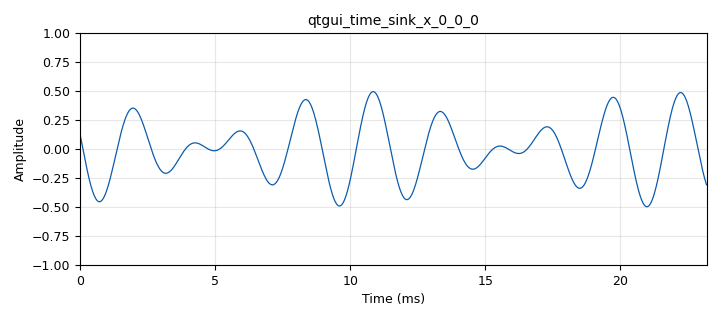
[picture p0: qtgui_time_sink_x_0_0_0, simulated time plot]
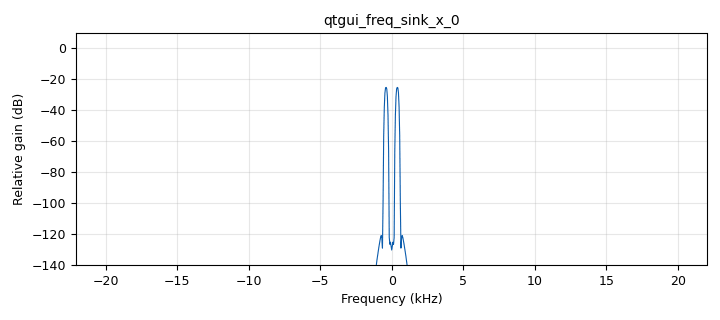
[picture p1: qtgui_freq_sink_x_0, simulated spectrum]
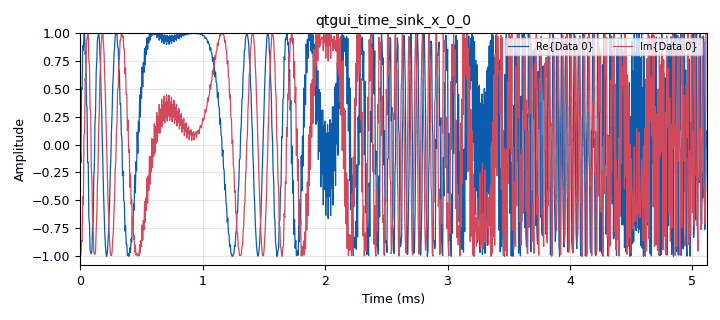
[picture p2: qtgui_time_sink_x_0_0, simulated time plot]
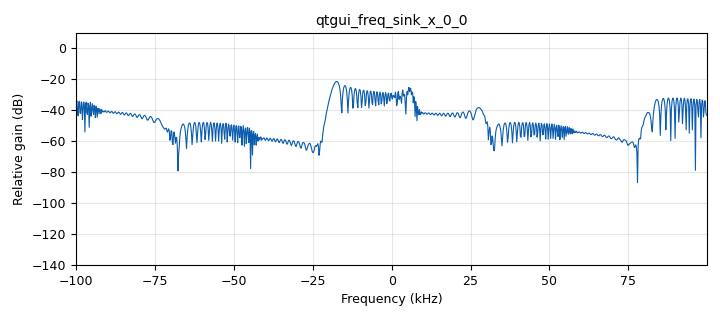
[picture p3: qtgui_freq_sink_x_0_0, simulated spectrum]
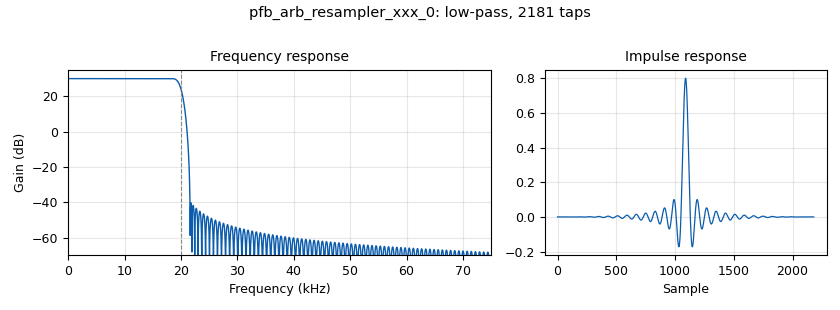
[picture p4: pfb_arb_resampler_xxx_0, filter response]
<?xml version='1.0' encoding='utf-8'?>
<flow_graph>
<block>
<key>options</key>
<param><key>id</key><value>fm_tx</value></param>
<param><key>generate_options</key><value>qt_gui</value></param>
<param><key>category</key><value>Custom</value></param>
<param><key>run_options</key><value>run</value></param>
</block>
<block>
<key>variable</key>
<param><key>id</key><value>nfilts</value></param>
<param><key>value</key><value>32</value></param>
</block>
<block>
<key>variable</key>
<param><key>id</key><value>audio_rate</value></param>
<param><key>value</key><value>44.1e3</value></param>
</block>
<block>
<key>variable</key>
<param><key>id</key><value>in_rate</value></param>
<param><key>value</key><value>50e3</value></param>
</block>
<block>
<key>variable</key>
<param><key>id</key><value>tx_rate</value></param>
<param><key>value</key><value>200e3</value></param>
</block>
<block>
<key>variable</key>
<param><key>id</key><value>resamp_rate</value></param>
<param><key>value</key><value>in_rate/audio_rate</value></param>
</block>
<block>
<key>analog_sig_source_x</key>
<param><key>id</key><value>analog_sig_source_x_0</value></param>
<param><key>type</key><value>float</value></param>
<param><key>samp_rate</key><value>audio_rate</value></param>
<param><key>waveform</key><value>analog.GR_COS_WAVE</value></param>
<param><key>freq</key><value>350</value></param>
<param><key>amp</key><value>0.25</value></param>
<param><key>offset</key><value>0</value></param>
</block>
<block>
<key>analog_sig_source_x</key>
<param><key>id</key><value>analog_sig_source_x_1</value></param>
<param><key>type</key><value>float</value></param>
<param><key>samp_rate</key><value>audio_rate</value></param>
<param><key>waveform</key><value>analog.GR_COS_WAVE</value></param>
<param><key>freq</key><value>440</value></param>
<param><key>amp</key><value>0.25</value></param>
<param><key>offset</key><value>0</value></param>
</block>
<block>
<key>blocks_add_xx</key>
<param><key>id</key><value>blocks_add_xx_0</value></param>
<param><key>type</key><value>float</value></param>
</block>
<block>
<key>qtgui_time_sink_x</key>
<param><key>id</key><value>qtgui_time_sink_x_0_0_0</value></param>
<param><key>type</key><value>float</value></param>
<param><key>name</key><value></value></param>
<param><key>size</key><value>1024</value></param>
<param><key>srate</key><value>audio_rate</value></param>
<param><key>gui_hint</key><value>0,0,1,1</value></param>
</block>
<block>
<key>qtgui_freq_sink_x</key>
<param><key>id</key><value>qtgui_freq_sink_x_0</value></param>
<param><key>type</key><value>float</value></param>
<param><key>name</key><value></value></param>
<param><key>fftsize</key><value>1024</value></param>
<param><key>wintype</key><value>firdes.WIN_BLACKMAN_hARRIS</value></param>
<param><key>fc</key><value>0</value></param>
<param><key>bw</key><value>audio_rate</value></param>
<param><key>gui_hint</key><value>1,0,1,1</value></param>
</block>
<block>
<key>qtgui_time_sink_x</key>
<param><key>id</key><value>qtgui_time_sink_x_0_0</value></param>
<param><key>type</key><value>complex</value></param>
<param><key>name</key><value></value></param>
<param><key>size</key><value>1024</value></param>
<param><key>srate</key><value>tx_rate</value></param>
<param><key>gui_hint</key><value>0,1,1,1</value></param>
</block>
<block>
<key>qtgui_freq_sink_x</key>
<param><key>id</key><value>qtgui_freq_sink_x_0_0</value></param>
<param><key>type</key><value>complex</value></param>
<param><key>name</key><value></value></param>
<param><key>fftsize</key><value>1024</value></param>
<param><key>wintype</key><value>firdes.WIN_BLACKMAN_hARRIS</value></param>
<param><key>fc</key><value>0</value></param>
<param><key>bw</key><value>tx_rate</value></param>
<param><key>gui_hint</key><value>1,1,1,1</value></param>
</block>
<block>
<key>blocks_file_sink</key>
<param><key>id</key><value>blocks_file_sink_0</value></param>
<param><key>file</key><value>dummy.dat</value></param>
<param><key>type</key><value>complex</value></param>
</block>
<block>
<key>blocks_head</key>
<param><key>id</key><value>blocks_head_0</value></param>
<param><key>type</key><value>complex</value></param>
<param><key>num_items</key><value>nitems</value></param>
</block>
<block>
<key>blocks_skiphead</key>
<param><key>id</key><value>blocks_skiphead_0</value></param>
<param><key>type</key><value>complex</value></param>
<param><key>num_items</key><value>5000</value></param>
</block>
<block>
<key>analog_wfm_tx</key>
<param><key>id</key><value>analog_wfm_tx_0</value></param>
<param><key>audio_rate</key><value>int(in_rate)</value></param>
<param><key>quad_rate</key><value>int(tx_rate)</value></param>
<param><key>tau</key><value>75e-6</value></param>
<param><key>max_dev</key><value>75e3</value></param>
<param><key>fh</key><value>0.925 * tx_rate/2.0</value></param>
</block>
<block>
<key>pfb_arb_resampler_xxx</key>
<param><key>id</key><value>pfb_arb_resampler_xxx_0</value></param>
<param><key>type</key><value>fff</value></param>
<param><key>rrate</key><value>resamp_rate</value></param>
<param><key>taps</key><value>firdes.low_pass_2(nfilts, nfilts*in_rate, 20e3, 2e3, 60, firdes.WIN_KAISER)</value></param>
<param><key>nfilts</key><value>nfilts</value></param>
<param><key>atten</key><value>100</value></param>
</block>
<block>
<key>parameter</key>
<param><key>id</key><value>nitems</value></param>
<param><key>label</key><value>Number of items to save</value></param>
<param><key>value</key><value>1000000</value></param>
<param><key>type</key><value>intx</value></param>
<param><key>short_id</key><value>N</value></param>
</block>
<block>
<key>audio_sink</key>
<param><key>id</key><value>audio_sink_0</value></param>
<param><key>samp_rate</key><value>int(audio_rate)</value></param>
</block>
<connection><source_block_id>analog_sig_source_x_0</source_block_id><sink_block_id>blocks_add_xx_0</sink_block_id><source_key>0</source_key><sink_key>0</sink_key></connection>
<connection><source_block_id>analog_sig_source_x_1</source_block_id><sink_block_id>blocks_add_xx_0</sink_block_id><source_key>0</source_key><sink_key>1</sink_key></connection>
<connection><source_block_id>pfb_arb_resampler_xxx_0</source_block_id><sink_block_id>analog_wfm_tx_0</sink_block_id><source_key>0</source_key><sink_key>0</sink_key></connection>
<connection><source_block_id>blocks_add_xx_0</source_block_id><sink_block_id>pfb_arb_resampler_xxx_0</sink_block_id><source_key>0</source_key><sink_key>0</sink_key></connection>
<connection><source_block_id>blocks_add_xx_0</source_block_id><sink_block_id>audio_sink_0</sink_block_id><source_key>0</source_key><sink_key>0</sink_key></connection>
<connection><source_block_id>blocks_add_xx_0</source_block_id><sink_block_id>qtgui_time_sink_x_0_0_0</sink_block_id><source_key>0</source_key><sink_key>0</sink_key></connection>
<connection><source_block_id>blocks_add_xx_0</source_block_id><sink_block_id>qtgui_freq_sink_x_0</sink_block_id><source_key>0</source_key><sink_key>0</sink_key></connection>
<connection><source_block_id>analog_wfm_tx_0</source_block_id><sink_block_id>qtgui_freq_sink_x_0_0</sink_block_id><source_key>0</source_key><sink_key>0</sink_key></connection>
<connection><source_block_id>analog_wfm_tx_0</source_block_id><sink_block_id>qtgui_time_sink_x_0_0</sink_block_id><source_key>0</source_key><sink_key>0</sink_key></connection>
<connection><source_block_id>blocks_head_0</source_block_id><sink_block_id>blocks_file_sink_0</sink_block_id><source_key>0</source_key><sink_key>0</sink_key></connection>
<connection><source_block_id>analog_wfm_tx_0</source_block_id><sink_block_id>blocks_skiphead_0</sink_block_id><source_key>0</source_key><sink_key>0</sink_key></connection>
<connection><source_block_id>blocks_skiphead_0</source_block_id><sink_block_id>blocks_head_0</sink_block_id><source_key>0</source_key><sink_key>0</sink_key></connection>
</flow_graph>
